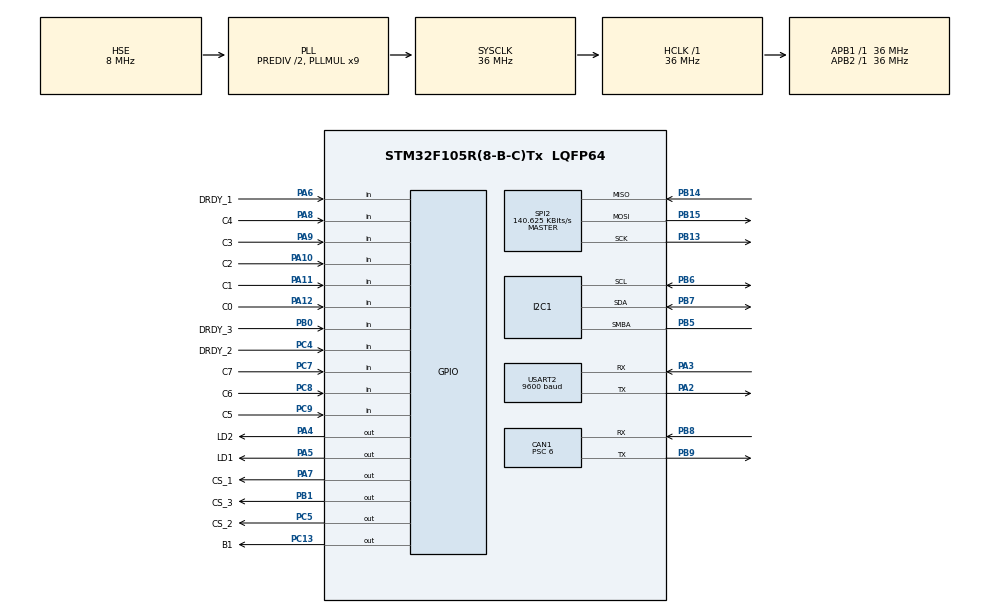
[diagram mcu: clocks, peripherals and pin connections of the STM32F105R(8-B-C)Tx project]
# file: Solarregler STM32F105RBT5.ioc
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CAN1.BS1=CAN_BS1_9TQ
CAN1.BS2=CAN_BS2_2TQ
CAN1.CalculateTimeBit=2000
CAN1.CalculateTimeQuantum=166.66666666666669
CAN1.Prescaler=6
Mcu.Family=STM32F1
Mcu.Name=STM32F105R(8-B-C)Tx
Mcu.Package=LQFP64
NVIC.CAN1_RX0_IRQn=true\:0\:0\:false\:false\:true\:true
NVIC.PriorityGroup=NVIC_PRIORITYGROUP_4
NVIC.SPI2_IRQn=true\:0\:0\:false\:false\:true\:true
NVIC.TIM2_IRQn=true\:0\:0\:false\:false\:true\:true
PA10.GPIO_Label=C2
PA10.GPIO_PuPd=GPIO_PULLUP
PA10.Signal=GPIO_Input
PA11.GPIO_Label=C1
PA11.GPIO_PuPd=GPIO_PULLUP
PA11.Signal=GPIO_Input
PA12.GPIO_Label=C0
PA12.GPIO_PuPd=GPIO_PULLUP
PA12.Signal=GPIO_Input
PA13.Mode=JTAG_5_pins
PA13.Signal=SYS_JTMS-SWDIO
PA14.Mode=JTAG_5_pins
PA14.Signal=SYS_JTCK-SWCLK
PA15.Mode=JTAG_5_pins
PA15.Signal=SYS_JTDI
PA2.Mode=Asynchronous
PA2.Signal=USART2_TX
PA3.Mode=Asynchronous
PA3.Signal=USART2_RX
PA4.GPIO_Label=LD2
PA4.Signal=GPIO_Output
PA5.GPIO_Label=LD1
PA5.Signal=GPIO_Output
PA6.GPIO_Label=DRDY_1
PA6.Signal=GPIO_Input
PA7.GPIO_Label=CS_1
PA7.Signal=GPIO_Output
PA8.GPIO_Label=C4
PA8.GPIO_PuPd=GPIO_PULLUP
PA8.Signal=GPIO_Input
PA9.GPIO_Label=C3
PA9.GPIO_PuPd=GPIO_PULLUP
PA9.Signal=GPIO_Input
PB0.GPIO_Label=DRDY_3
PB0.Signal=GPIO_Input
PB1.GPIO_Label=CS_3
PB1.Signal=GPIO_Output
PB13.Mode=Full_Duplex_Master
PB13.Signal=SPI2_SCK
PB14.Mode=Full_Duplex_Master
PB14.Signal=SPI2_MISO
PB15.Mode=Full_Duplex_Master
PB15.Signal=SPI2_MOSI
PB3.Mode=JTAG_5_pins
PB3.Signal=SYS_JTDO
PB4.Mode=JTAG_5_pins
PB4.Signal=SYS_NJTRST
PB5.Mode=SMBus-Alert-mode
PB5.Signal=I2C1_SMBA
PB6.Mode=SMBus-Alert-mode
PB6.Signal=I2C1_SCL
PB7.Mode=SMBus-Alert-mode
PB7.Signal=I2C1_SDA
PB8.Mode=Master
PB8.Signal=CAN1_RX
PB9.Mode=Master
PB9.Signal=CAN1_TX
PC13-TAMPER-RTC.GPIO_Label=B1
PC13-TAMPER-RTC.Signal=GPIO_Output
PC14-OSC32_IN.Mode=LSE-External-Oscillator
PC14-OSC32_IN.Signal=RCC_OSC32_IN
PC15-OSC32_OUT.Mode=LSE-External-Oscillator
PC15-OSC32_OUT.Signal=RCC_OSC32_OUT
PC4.GPIO_Label=DRDY_2
PC4.Signal=GPIO_Input
PC5.GPIO_Label=CS_2
PC5.Signal=GPIO_Output
PC7.GPIO_Label=C7
PC7.GPIO_PuPd=GPIO_PULLUP
PC7.Signal=GPIO_Input
PC8.GPIO_Label=C6
PC8.GPIO_PuPd=GPIO_PULLUP
PC8.Signal=GPIO_Input
PC9.GPIO_Label=C5
PC9.GPIO_PuPd=GPIO_PULLUP
PC9.Signal=GPIO_Input
PD0-OSC_IN.Mode=HSE-External-Clock-Source
PD0-OSC_IN.Signal=RCC_OSC_IN
PD1-OSC_OUT.Mode=HSE-External-Clock-Source
PD1-OSC_OUT.Signal=RCC_OSC_OUT
ProjectManager.HeapSize=0x200
ProjectManager.StackSize=0x400
ProjectManager.TargetToolchain=MDK-ARM V5
RCC.AHBFreq_Value=36000000
RCC.APB1Freq_Value=36000000
RCC.APB1TimFreq_Value=36000000
RCC.APB2Freq_Value=36000000
RCC.APB2TimFreq_Value=36000000
RCC.HCLKFreq_Value=36000000
RCC.HSEDivPLL=RCC_HSE_PREDIV_DIV2
RCC.PLLMUL=RCC_PLL_MUL9
RCC.PLLSourceVirtual=RCC_PLLSOURCE_HSE
RCC.SYSCLKFreq_VALUE=36000000
RCC.SYSCLKSource=RCC_SYSCLKSOURCE_PLLCLK
RCC.USBFreq_Value=24000000
SPI2.BaudRatePrescaler=SPI_BAUDRATEPRESCALER_256
SPI2.CLKPhase=SPI_PHASE_2EDGE
SPI2.CLKPolarity=SPI_POLARITY_HIGH
SPI2.CalculateBaudRate=140.625 KBits/s
SPI2.Direction=SPI_DIRECTION_2LINES
SPI2.Mode=SPI_MODE_MASTER
SPI2.VirtualType=VM_MASTER
TIM2.Period=65535
TIM2.Prescaler=4096
USART2.BaudRate=9600
USART2.VirtualMode=VM_ASYNC
VP_RTC_VS_RTC_Activate.Mode=RTC_Enabled
VP_TIM2_VS_ClockSourceINT.Mode=Internal
board=custom

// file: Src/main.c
/**
  ******************************************************************************
  * @file           : main.c
  * @brief          : Main program body
  ******************************************************************************
  ** This notice applies to any and all portions of this file
  * that are not between comment pairs USER CODE BEGIN and
  * USER CODE END. Other portions of this file, whether
  * inserted by the user or by software development tools
  * are owned by their respective copyright owners.
  *
  * COPYRIGHT(c) 2018 STMicroelectronics
  *
  * Redistribution and use in source and binary forms, with or without modification,
  * are permitted provided that the following conditions are met:
  *   1. Redistributions of source code must retain the above copyright notice,
  *      this list of conditions and the following disclaimer.
  *   2. Redistributions in binary form must reproduce the above copyright notice,
  *      this list of conditions and the following disclaimer in the documentation
  *      and/or other materials provided with the distribution.
  *   3. Neither the name of STMicroelectronics nor the names of its contributors
  *      may be used to endorse or promote products derived from this software
  *      without specific prior written permission.
  *
  * THIS SOFTWARE IS PROVIDED BY THE COPYRIGHT HOLDERS AND CONTRIBUTORS "AS IS"
  * AND ANY EXPRESS OR IMPLIED WARRANTIES, INCLUDING, BUT NOT LIMITED TO, THE
  * IMPLIED WARRANTIES OF MERCHANTABILITY AND FITNESS FOR A PARTICULAR PURPOSE ARE
  * DISCLAIMED. IN NO EVENT SHALL THE COPYRIGHT HOLDER OR CONTRIBUTORS BE LIABLE
  * FOR ANY DIRECT, INDIRECT, INCIDENTAL, SPECIAL, EXEMPLARY, OR CONSEQUENTIAL
  * DAMAGES (INCLUDING, BUT NOT LIMITED TO, PROCUREMENT OF SUBSTITUTE GOODS OR
  * SERVICES; LOSS OF USE, DATA, OR PROFITS; OR BUSINESS INTERRUPTION) HOWEVER
  * CAUSED AND ON ANY THEORY OF LIABILITY, WHETHER IN CONTRACT, STRICT LIABILITY,
  * OR TORT (INCLUDING NEGLIGENCE OR OTHERWISE) ARISING IN ANY WAY OUT OF THE USE
  * OF THIS SOFTWARE, EVEN IF ADVISED OF THE POSSIBILITY OF SUCH DAMAGE.
  *
  ******************************************************************************
  */
#include "main.h"
#include "stm32f1xx_hal.h"

/* USER CODE BEGIN Includes */

#include "MAX31865.h"
#include "stdio.h"
#include "string.h"

/* USER CODE END Includes */

CAN_HandleTypeDef hcan1;

RTC_HandleTypeDef hrtc;

SPI_HandleTypeDef hspi2;

TIM_HandleTypeDef htim2;

UART_HandleTypeDef huart2;

/* USER CODE BEGIN PV */
/* Private variables ---------------------------------------------------------*/

float temperaturSolar = 0.0;
float temperaturSens3 = 0.0;
float temperaturSolarMean = 0.0;
float temperaturBuffer = 0.0;
float temperaturBufferMean = 0.0;

float temperaturSolarMin = 50;
float temperaturBufferMax = 90;

float hysteresisON = 10.0;
float hysteresisOFF = 2.0;

MAX31865_TypeDef MAXSolar;
MAX31865_TypeDef MAXBuffer;
MAX31865_TypeDef MAXSens3;

uint8_t relaisState = 0;

uint8_t controllerActivated = 0;

uint8_t sens3Used = 0;

uint8_t sens3Solar = 0;

uint8_t sens3Buffer = 0;

int onTime = 0;

uint16_t CanBaseAdress = 0x123;

CanRxMsgTypeDef CanRx;
CanTxMsgTypeDef CanTx;
CAN_FilterConfTypeDef filterConfig;

/* USER CODE END PV */

void SystemClock_Config(void);
static void MX_GPIO_Init(void);
static void MX_USART2_UART_Init(void);
static void MX_RTC_Init(void);
static void MX_I2C1_Init(void);
static void MX_TIM2_Init(void);
static void MX_CAN1_Init(void);
static void MX_SPI2_Init(void);

/* USER CODE BEGIN PFP */
/* Private function prototypes -----------------------------------------------*/

uint8_t readCanIdDip(void);
void reenableCanInterrupt(CAN_HandleTypeDef* hcan);

/* USER CODE END PFP */

int main(void)
{

  /* MCU Configuration----------------------------------------------------------*/

  /* Reset of all peripherals, Initializes the Flash interface and the Systick. */
  HAL_Init();

  /* Configure the system clock */
  SystemClock_Config();

  /* Initialize all configured peripherals */
  MX_GPIO_Init();
  MX_USART2_UART_Init();
  MX_RTC_Init();
  MX_I2C1_Init();
  MX_TIM2_Init();
  MX_CAN1_Init();
  MX_SPI2_Init();
  /* USER CODE BEGIN 2 */

	// Initialization of the MAX PT100 Chips
	MAXSolar.SPI_Handle = &hspi2;
	MAXSolar.CS_Pin = CS_1_Pin;
	MAXSolar.CS_GPIOx = CS_1_GPIO_Port;
	MAXSolar.RDY_Pin = DRDY_1_Pin;
	MAXSolar.RDY_GPIOx = DRDY_1_GPIO_Port;
	MAXSolar.referenceResistor = 430.0;

	MAXSens3.SPI_Handle = &hspi2;
	MAXSens3.CS_Pin = CS_3_Pin;
	MAXSens3.CS_GPIOx = CS_3_GPIO_Port;
	MAXSens3.RDY_Pin = DRDY_3_Pin;
	MAXSens3.RDY_GPIOx = DRDY_3_GPIO_Port;
	MAXSens3.referenceResistor = 430.0;

	MAXBuffer.SPI_Handle = &hspi2;
	MAXBuffer.CS_Pin = CS_2_Pin;
	MAXBuffer.CS_GPIOx = CS_2_GPIO_Port;
	MAXBuffer.RDY_Pin = DRDY_2_Pin;
	MAXBuffer.RDY_GPIOx = DRDY_2_GPIO_Port;
	MAXBuffer.referenceResistor = 430.0;

	initialize(&MAXSolar, STANDARD_INIT);
	//initialize(&MAXSens3, STANDARD_INIT);
	initialize(&MAXBuffer, STANDARD_INIT);

	checkForFaults(&MAXSolar);
	//checkForFaults(&MAXSens3);
	checkForFaults(&MAXBuffer);

	/////////////////////////////////////////////////

	//CanBaseAdress = readCanIdDip();

	// Initialization of CAN Messages and Filter
	hcan1.pTxMsg = &CanTx;
	hcan1.pTxMsg->StdId = CanBaseAdress + 0x1;
	hcan1.pTxMsg->ExtId = 0x0;
	hcan1.pTxMsg->RTR = CAN_RTR_DATA;
	hcan1.pTxMsg->IDE = CAN_ID_STD;
	hcan1.pTxMsg->DLC = 5; //Datenmenge max 8

	hcan1.pRxMsg = &CanRx;
	hcan1.pRxMsg->IDE = CAN_ID_STD;
	hcan1.pRxMsg->FIFONumber = CAN_FIFO0;
	hcan1.pRxMsg->FMI = 1;

	filterConfig.FilterNumber = 1;
	filterConfig.FilterMode = CAN_FILTERMODE_IDMASK;
	filterConfig.FilterIdLow = (CanBaseAdress | 0x00F) << 5; // wegen Fehler? offset der ID um 5 Bits
	filterConfig.FilterIdHigh = (CanBaseAdress + 0x7) << 5;
	filterConfig.FilterMaskIdLow = (CanBaseAdress + 0xB) << 5;
	filterConfig.FilterMaskIdHigh = 0x0;
	filterConfig.FilterScale = CAN_FILTERSCALE_16BIT;
	filterConfig.FilterFIFOAssignment = CAN_FILTER_FIFO0;
	filterConfig.FilterActivation = ENABLE;
	filterConfig.BankNumber = 14;
	/////////////////////////////////////////////////

	// Setup Filter
	HAL_CAN_ConfigFilter(&hcan1, &filterConfig);

	//Start Interrupt
	HAL_CAN_Receive_IT(&hcan1, CAN_FIFO0);

	// Timer start
	HAL_TIM_Base_Start_IT(&htim2);

  /* USER CODE END 2 */

  /* Infinite loop */
  while (1)
  {

  }

}

void SystemClock_Config(void)
{

  RCC_OscInitTypeDef RCC_OscInitStruct;
  RCC_ClkInitTypeDef RCC_ClkInitStruct;
  RCC_PeriphCLKInitTypeDef PeriphClkInit;

    /**Initializes the CPU, AHB and APB busses clocks
    */
  RCC_OscInitStruct.OscillatorType = RCC_OSCILLATORTYPE_LSI|RCC_OSCILLATORTYPE_HSE;
  RCC_OscInitStruct.HSEState = RCC_HSE_BYPASS;
  RCC_OscInitStruct.HSEPredivValue = RCC_HSE_PREDIV_DIV2;
  RCC_OscInitStruct.HSIState = RCC_HSI_ON;
  RCC_OscInitStruct.LSIState = RCC_LSI_ON;
  RCC_OscInitStruct.Prediv1Source = RCC_PREDIV1_SOURCE_HSE;
  RCC_OscInitStruct.PLL.PLLState = RCC_PLL_ON;
  RCC_OscInitStruct.PLL.PLLSource = RCC_PLLSOURCE_HSE;
  RCC_OscInitStruct.PLL.PLLMUL = RCC_PLL_MUL9;
  RCC_OscInitStruct.PLL2.PLL2State = RCC_PLL_NONE;
  if (HAL_RCC_OscConfig(&RCC_OscInitStruct) != HAL_OK)
  {
    _Error_Handler(__FILE__, __LINE__);
  }

    /**Initializes the CPU, AHB and APB busses clocks
    */
  RCC_ClkInitStruct.ClockType = RCC_CLOCKTYPE_HCLK|RCC_CLOCKTYPE_SYSCLK
                              |RCC_CLOCKTYPE_PCLK1|RCC_CLOCKTYPE_PCLK2;
  RCC_ClkInitStruct.SYSCLKSource = RCC_SYSCLKSOURCE_PLLCLK;
  RCC_ClkInitStruct.AHBCLKDivider = RCC_SYSCLK_DIV1;
  RCC_ClkInitStruct.APB1CLKDivider = RCC_HCLK_DIV1;
  RCC_ClkInitStruct.APB2CLKDivider = RCC_HCLK_DIV1;

  if (HAL_RCC_ClockConfig(&RCC_ClkInitStruct, FLASH_LATENCY_1) != HAL_OK)
  {
    _Error_Handler(__FILE__, __LINE__);
  }

  PeriphClkInit.PeriphClockSelection = RCC_PERIPHCLK_RTC;
  PeriphClkInit.RTCClockSelection = RCC_RTCCLKSOURCE_LSI;
  if (HAL_RCCEx_PeriphCLKConfig(&PeriphClkInit) != HAL_OK)
  {
    _Error_Handler(__FILE__, __LINE__);
  }

    /**Configure the Systick interrupt time
    */
  HAL_SYSTICK_Config(HAL_RCC_GetHCLKFreq()/1000);

    /**Configure the Systick
    */
  HAL_SYSTICK_CLKSourceConfig(SYSTICK_CLKSOURCE_HCLK);

    /**Configure the Systick interrupt time
    */
  __HAL_RCC_PLLI2S_ENABLE();

  /* SysTick_IRQn interrupt configuration */
  HAL_NVIC_SetPriority(SysTick_IRQn, 0, 0);
}

/* CAN1 init function */
static void MX_CAN1_Init(void)
{

  hcan1.Instance = CAN1;
  hcan1.Init.Prescaler = 6;
  hcan1.Init.Mode = CAN_MODE_NORMAL;
  hcan1.Init.SJW = CAN_SJW_1TQ;
  hcan1.Init.BS1 = CAN_BS1_9TQ;
  hcan1.Init.BS2 = CAN_BS2_2TQ;
  hcan1.Init.TTCM = DISABLE;
  hcan1.Init.ABOM = DISABLE;
  hcan1.Init.AWUM = DISABLE;
  hcan1.Init.NART = DISABLE;
  hcan1.Init.RFLM = DISABLE;
  hcan1.Init.TXFP = DISABLE;
  if (HAL_CAN_Init(&hcan1) != HAL_OK)
  {
    _Error_Handler(__FILE__, __LINE__);
  }

}

/* I2C1 init function */
static void MX_I2C1_Init(void)
{

}

/* RTC init function */
static void MX_RTC_Init(void)
{

    /**Initialize RTC Only
    */
  hrtc.Instance = RTC;
  hrtc.Init.AsynchPrediv = RTC_AUTO_1_SECOND;
  hrtc.Init.OutPut = RTC_OUTPUTSOURCE_ALARM;
  if (HAL_RTC_Init(&hrtc) != HAL_OK)
  {
    _Error_Handler(__FILE__, __LINE__);
  }

}

/* SPI2 init function */
static void MX_SPI2_Init(void)
{

  /* SPI2 parameter configuration*/
  hspi2.Instance = SPI2;
  hspi2.Init.Mode = SPI_MODE_MASTER;
  hspi2.Init.Direction = SPI_DIRECTION_2LINES;
  hspi2.Init.DataSize = SPI_DATASIZE_8BIT;
  hspi2.Init.CLKPolarity = SPI_POLARITY_HIGH;
  hspi2.Init.CLKPhase = SPI_PHASE_2EDGE;
  hspi2.Init.NSS = SPI_NSS_SOFT;
  hspi2.Init.BaudRatePrescaler = SPI_BAUDRATEPRESCALER_256;
  hspi2.Init.FirstBit = SPI_FIRSTBIT_MSB;
  hspi2.Init.TIMode = SPI_TIMODE_DISABLE;
  hspi2.Init.CRCCalculation = SPI_CRCCALCULATION_DISABLE;
  hspi2.Init.CRCPolynomial = 10;
  if (HAL_SPI_Init(&hspi2) != HAL_OK)
  {
    _Error_Handler(__FILE__, __LINE__);
  }

}

/* TIM2 init function */
static void MX_TIM2_Init(void)
{

  TIM_ClockConfigTypeDef sClockSourceConfig;
  TIM_MasterConfigTypeDef sMasterConfig;

  htim2.Instance = TIM2;
  htim2.Init.Prescaler = 4096;
  htim2.Init.CounterMode = TIM_COUNTERMODE_UP;
  htim2.Init.Period = 65535;
  htim2.Init.ClockDivision = TIM_CLOCKDIVISION_DIV1;
  htim2.Init.AutoReloadPreload = TIM_AUTORELOAD_PRELOAD_DISABLE;
  if (HAL_TIM_Base_Init(&htim2) != HAL_OK)
  {
    _Error_Handler(__FILE__, __LINE__);
  }

  sClockSourceConfig.ClockSource = TIM_CLOCKSOURCE_INTERNAL;
  if (HAL_TIM_ConfigClockSource(&htim2, &sClockSourceConfig) != HAL_OK)
  {
    _Error_Handler(__FILE__, __LINE__);
  }

  sMasterConfig.MasterOutputTrigger = TIM_TRGO_RESET;
  sMasterConfig.MasterSlaveMode = TIM_MASTERSLAVEMODE_DISABLE;
  if (HAL_TIMEx_MasterConfigSynchronization(&htim2, &sMasterConfig) != HAL_OK)
  {
    _Error_Handler(__FILE__, __LINE__);
  }

}

/* USART2 init function */
static void MX_USART2_UART_Init(void)
{

  huart2.Instance = USART2;
  huart2.Init.BaudRate = 9600;
  huart2.Init.WordLength = UART_WORDLENGTH_8B;
  huart2.Init.StopBits = UART_STOPBITS_1;
  huart2.Init.Parity = UART_PARITY_NONE;
  huart2.Init.Mode = UART_MODE_TX_RX;
  huart2.Init.HwFlowCtl = UART_HWCONTROL_NONE;
  huart2.Init.OverSampling = UART_OVERSAMPLING_16;
  if (HAL_UART_Init(&huart2) != HAL_OK)
  {
    _Error_Handler(__FILE__, __LINE__);
  }

}

/** Configure pins as
        * Analog
        * Input
        * Output
        * EVENT_OUT
        * EXTI
     PB5   ------> I2C1_SMBA
     PB6   ------> I2C1_SCL
     PB7   ------> I2C1_SDA
*/
static void MX_GPIO_Init(void)
{

  GPIO_InitTypeDef GPIO_InitStruct;

  /* GPIO Ports Clock Enable */
  __HAL_RCC_GPIOC_CLK_ENABLE();
  __HAL_RCC_GPIOD_CLK_ENABLE();
  __HAL_RCC_GPIOA_CLK_ENABLE();
  __HAL_RCC_GPIOB_CLK_ENABLE();

  /*Configure GPIO pin Output Level */
  HAL_GPIO_WritePin(GPIOC, B1_Pin|CS_2_Pin, GPIO_PIN_RESET);

  /*Configure GPIO pin Output Level */
  HAL_GPIO_WritePin(GPIOA, LD2_Pin|LD1_Pin|CS_1_Pin, GPIO_PIN_RESET);

  /*Configure GPIO pin Output Level */
  HAL_GPIO_WritePin(CS_3_GPIO_Port, CS_3_Pin, GPIO_PIN_RESET);

  /*Configure GPIO pins : B1_Pin CS_2_Pin */
  GPIO_InitStruct.Pin = B1_Pin|CS_2_Pin;
  GPIO_InitStruct.Mode = GPIO_MODE_OUTPUT_PP;
  GPIO_InitStruct.Pull = GPIO_NOPULL;
  GPIO_InitStruct.Speed = GPIO_SPEED_FREQ_LOW;
  HAL_GPIO_Init(GPIOC, &GPIO_InitStruct);

  /*Configure GPIO pins : LD2_Pin LD1_Pin CS_1_Pin */
  GPIO_InitStruct.Pin = LD2_Pin|LD1_Pin|CS_1_Pin;
  GPIO_InitStruct.Mode = GPIO_MODE_OUTPUT_PP;
  GPIO_InitStruct.Pull = GPIO_NOPULL;
  GPIO_InitStruct.Speed = GPIO_SPEED_FREQ_LOW;
  HAL_GPIO_Init(GPIOA, &GPIO_InitStruct);

  /*Configure GPIO pin : DRDY_1_Pin */
  GPIO_InitStruct.Pin = DRDY_1_Pin;
  GPIO_InitStruct.Mode = GPIO_MODE_INPUT;
  GPIO_InitStruct.Pull = GPIO_NOPULL;
  HAL_GPIO_Init(DRDY_1_GPIO_Port, &GPIO_InitStruct);

  /*Configure GPIO pin : DRDY_2_Pin */
  GPIO_InitStruct.Pin = DRDY_2_Pin;
  GPIO_InitStruct.Mode = GPIO_MODE_INPUT;
  GPIO_InitStruct.Pull = GPIO_NOPULL;
  HAL_GPIO_Init(DRDY_2_GPIO_Port, &GPIO_InitStruct);

  /*Configure GPIO pin : DRDY_3_Pin */
  GPIO_InitStruct.Pin = DRDY_3_Pin;
  GPIO_InitStruct.Mode = GPIO_MODE_INPUT;
  GPIO_InitStruct.Pull = GPIO_NOPULL;
  HAL_GPIO_Init(DRDY_3_GPIO_Port, &GPIO_InitStruct);

  /*Configure GPIO pin : CS_3_Pin */
  GPIO_InitStruct.Pin = CS_3_Pin;
  GPIO_InitStruct.Mode = GPIO_MODE_OUTPUT_PP;
  GPIO_InitStruct.Pull = GPIO_NOPULL;
  GPIO_InitStruct.Speed = GPIO_SPEED_FREQ_LOW;
  HAL_GPIO_Init(CS_3_GPIO_Port, &GPIO_InitStruct);

  /*Configure GPIO pins : C7_Pin C6_Pin C5_Pin */
  GPIO_InitStruct.Pin = C7_Pin|C6_Pin|C5_Pin;
  GPIO_InitStruct.Mode = GPIO_MODE_INPUT;
  GPIO_InitStruct.Pull = GPIO_PULLUP;
  HAL_GPIO_Init(GPIOC, &GPIO_InitStruct);

  /*Configure GPIO pins : C4_Pin C3_Pin C2_Pin C1_Pin
                           C0_Pin */
  GPIO_InitStruct.Pin = C4_Pin|C3_Pin|C2_Pin|C1_Pin
                          |C0_Pin;
  GPIO_InitStruct.Mode = GPIO_MODE_INPUT;
  GPIO_InitStruct.Pull = GPIO_PULLUP;
  HAL_GPIO_Init(GPIOA, &GPIO_InitStruct);

  /*Configure GPIO pins : PB5 PB6 PB7 */
  GPIO_InitStruct.Pin = GPIO_PIN_5|GPIO_PIN_6|GPIO_PIN_7;
  GPIO_InitStruct.Mode = GPIO_MODE_AF_OD;
  GPIO_InitStruct.Speed = GPIO_SPEED_FREQ_HIGH;
  HAL_GPIO_Init(GPIOB, &GPIO_InitStruct);

}

/* USER CODE BEGIN 4 */

uint8_t readCanIdDip(){

	uint8_t canIdDip;

	// read in the individual DIP ID Pins
	canIdDip = (HAL_GPIO_ReadPin(C0_GPIO_Port, C0_Pin) << 0) | (HAL_GPIO_ReadPin(C1_GPIO_Port, C1_Pin) << 1) | (HAL_GPIO_ReadPin(C2_GPIO_Port, C2_Pin) << 2) | (HAL_GPIO_ReadPin(C3_GPIO_Port, C3_Pin) << 3);
	canIdDip |= (HAL_GPIO_ReadPin(C4_GPIO_Port, C4_Pin) << 4) | (HAL_GPIO_ReadPin(C5_GPIO_Port, C5_Pin) << 5) | (HAL_GPIO_ReadPin(C6_GPIO_Port, C6_Pin) << 6) | (HAL_GPIO_ReadPin(C7_GPIO_Port, C7_Pin) << 7);

	return canIdDip;
}

void HAL_CAN_RxCpltCallback(CAN_HandleTypeDef* hcan){

if(hcan->pRxMsg->StdId == (CanBaseAdress + 0xB)){

		if(sens3Used == 0){

		hcan->pTxMsg->StdId = (CanBaseAdress);
		hcan->pTxMsg->DLC = 5;
		hcan->pTxMsg->Data[0] = MAXSolar.faultDetected;
	  hcan->pTxMsg->Data[1] = *((uint8_t *) &temperaturSolar);
		hcan->pTxMsg->Data[2] = *(((uint8_t *) &temperaturSolar) + 1);
		hcan->pTxMsg->Data[3] = *(((uint8_t *) &temperaturSolar) + 2);
		hcan->pTxMsg->Data[4] = *(((uint8_t *) &temperaturSolar) + 3);
		HAL_CAN_Transmit(hcan, 10);

		} else {

		if(sens3Solar && !sens3Buffer){

		hcan->pTxMsg->StdId = (CanBaseAdress);
		hcan->pTxMsg->DLC = 5;
		hcan->pTxMsg->Data[0] = MAXSolar.faultDetected | MAXSens3.faultDetected;
	  hcan->pTxMsg->Data[1] = *((uint8_t *) &temperaturSolarMean);
		hcan->pTxMsg->Data[2] = *(((uint8_t *) &temperaturSolarMean) + 1);
		hcan->pTxMsg->Data[3] = *(((uint8_t *) &temperaturSolarMean) + 2);
		hcan->pTxMsg->Data[4] = *(((uint8_t *) &temperaturSolarMean) + 3);
		HAL_CAN_Transmit(hcan, 10);

			}	else {

		if(sens3Buffer && !sens3Solar){

		hcan->pTxMsg->StdId = (CanBaseAdress);
		hcan->pTxMsg->DLC = 5;
		hcan->pTxMsg->Data[0] = MAXBuffer.faultDetected | MAXSens3.faultDetected;
	  hcan->pTxMsg->Data[1] = *((uint8_t *) &temperaturBufferMean);
		hcan->pTxMsg->Data[2] = *(((uint8_t *) &temperaturBufferMean) + 1);
		hcan->pTxMsg->Data[3] = *(((uint8_t *) &temperaturBufferMean) + 2);
		hcan->pTxMsg->Data[4] = *(((uint8_t *) &temperaturBufferMean) + 3);
		HAL_CAN_Transmit(hcan, 10);

				}
			}
		}

		hcan->pTxMsg->StdId = (CanBaseAdress + 0x1);
		hcan->pTxMsg->DLC = 5;
		hcan->pTxMsg->Data[0] = MAXBuffer.faultDetected ;
	  hcan->pTxMsg->Data[1] = *((uint8_t *) &temperaturBuffer);
		hcan->pTxMsg->Data[2] = *(((uint8_t *) &temperaturBuffer) + 1);
		hcan->pTxMsg->Data[3] = *(((uint8_t *) &temperaturBuffer) + 2);
		hcan->pTxMsg->Data[4] = *(((uint8_t *) &temperaturBuffer) + 3);
		HAL_CAN_Transmit(hcan, 10);

		hcan->pTxMsg->StdId = (CanBaseAdress + 0x2);
		hcan->pTxMsg->DLC = 8;
	  hcan->pTxMsg->Data[0] = *((uint8_t *) &hysteresisON);
		hcan->pTxMsg->Data[1] = *(((uint8_t *) &hysteresisON) + 1);
		hcan->pTxMsg->Data[2] = *(((uint8_t *) &hysteresisON) + 2);
		hcan->pTxMsg->Data[3] = *(((uint8_t *) &hysteresisON) + 3);
		hcan->pTxMsg->Data[4] = *((uint8_t *) &hysteresisOFF);
		hcan->pTxMsg->Data[5] = *(((uint8_t *) &hysteresisOFF) + 1);
		hcan->pTxMsg->Data[6] = *(((uint8_t *) &hysteresisOFF) + 2);
		hcan->pTxMsg->Data[7] = *(((uint8_t *) &hysteresisOFF) + 3);
		HAL_CAN_Transmit(hcan, 10);

		hcan->pTxMsg->StdId = (CanBaseAdress + 0x4);
		hcan->pTxMsg->DLC = 1;
	  hcan->pTxMsg->Data[0] = relaisState;
		HAL_CAN_Transmit(hcan, 10);

		hcan->pTxMsg->StdId = (CanBaseAdress + 0x5);
		hcan->pTxMsg->DLC = 8;
	  hcan->pTxMsg->Data[0] = *((uint8_t *) &temperaturBufferMax);
		hcan->pTxMsg->Data[1] = *(((uint8_t *) &temperaturBufferMax) + 1);
		hcan->pTxMsg->Data[2] = *(((uint8_t *) &temperaturBufferMax) + 2);
		hcan->pTxMsg->Data[3] = *(((uint8_t *) &temperaturBufferMax) + 3);
		hcan->pTxMsg->Data[4] = *((uint8_t *) &temperaturSolarMin);
		hcan->pTxMsg->Data[5] = *(((uint8_t *) &temperaturSolarMin) + 1);
		hcan->pTxMsg->Data[6] = *(((uint8_t *) &temperaturSolarMin) + 2);
		hcan->pTxMsg->Data[7] = *(((uint8_t *) &temperaturSolarMin) + 3);
		HAL_CAN_Transmit(hcan, 10);

		hcan->pTxMsg->StdId = (CanBaseAdress + 0x6);
		hcan->pTxMsg->DLC = 1;
	  hcan->pTxMsg->Data[0] = *((uint8_t *) &controllerActivated);
		HAL_CAN_Transmit(hcan, 10);

}

if(hcan->pRxMsg->StdId == (CanBaseAdress + 0x3)){
	float tmpON;
	float tmpOFF;
	uint8_t * ON = (uint8_t *) &tmpON;
	uint8_t * OFF = (uint8_t *) &tmpOFF;

	*ON = hcan->pRxMsg->Data[0];
	*(ON + 1) = hcan->pRxMsg->Data[1];
	*(ON + 2) = hcan->pRxMsg->Data[2];
	*(ON + 3) = hcan->pRxMsg->Data[3];

	*OFF = hcan->pRxMsg->Data[4];
	*(OFF + 1) = hcan->pRxMsg->Data[5];
	*(OFF + 2) = hcan->pRxMsg->Data[6];
	*(OFF + 3) = hcan->pRxMsg->Data[7];

	if(tmpON <= MAX_ADJUSTABLE_TEMPERATURE && tmpON >= MIN_ADJUSTABLE_TEMPERATURE){
		hysteresisON = tmpON;
	} else {
		if(tmpON > MAX_ADJUSTABLE_TEMPERATURE){
			hysteresisON = MAX_ADJUSTABLE_TEMPERATURE;
		}
		if(tmpON < MIN_ADJUSTABLE_TEMPERATURE){
			hysteresisON = MIN_ADJUSTABLE_TEMPERATURE;
		}
	}

	if(tmpOFF <= MAX_ADJUSTABLE_TEMPERATURE && tmpOFF >= MIN_ADJUSTABLE_TEMPERATURE){
		hysteresisOFF = tmpOFF;
	} else {
		if(tmpOFF > MAX_ADJUSTABLE_TEMPERATURE){
			hysteresisOFF = MAX_ADJUSTABLE_TEMPERATURE;
		}
		if(tmpOFF < MIN_ADJUSTABLE_TEMPERATURE){
			hysteresisOFF = MIN_ADJUSTABLE_TEMPERATURE;
		}
	}

		hcan->pTxMsg->StdId = (CanBaseAdress + 0x2);
		hcan->pTxMsg->DLC = 8;
	  hcan->pTxMsg->Data[0] = *((uint8_t *) &hysteresisON);
		hcan->pTxMsg->Data[1] = *(((uint8_t *) &hysteresisON) + 1);
		hcan->pTxMsg->Data[2] = *(((uint8_t *) &hysteresisON) + 2);
		hcan->pTxMsg->Data[3] = *(((uint8_t *) &hysteresisON) + 3);
		hcan->pTxMsg->Data[4] = *((uint8_t *) &hysteresisOFF);
		hcan->pTxMsg->Data[5] = *(((uint8_t *) &hysteresisOFF) + 1);
		hcan->pTxMsg->Data[6] = *(((uint8_t *) &hysteresisOFF) + 2);
		hcan->pTxMsg->Data[7] = *(((uint8_t *) &hysteresisOFF) + 3);
		HAL_CAN_Transmit(hcan, 10);

}

if(hcan->pRxMsg->StdId == (CanBaseAdress + 0x7)){
	float tmpMAX;
	float tmpMIN;
	uint8_t * MAX = (uint8_t *) &tmpMAX;
	uint8_t * MIN = (uint8_t *) &tmpMIN;

	*MAX = hcan->pRxMsg->Data[0];
	*(MAX + 1) = hcan->pRxMsg->Data[1];
	*(MAX + 2) = hcan->pRxMsg->Data[2];
	*(MAX + 3) = hcan->pRxMsg->Data[3];

	*MIN = hcan->pRxMsg->Data[4];
	*(MIN + 1) = hcan->pRxMsg->Data[5];
	*(MIN + 2) = hcan->pRxMsg->Data[6];
	*(MIN + 3) = hcan->pRxMsg->Data[7];

		if(tmpMAX <= MAX_ADJUSTABLE_TEMPERATURE && tmpMAX >= MIN_ADJUSTABLE_TEMPERATURE){
		temperaturBufferMax = tmpMAX;
		} else {
		if(tmpMAX > MAX_ADJUSTABLE_TEMPERATURE){
			temperaturBufferMax = MAX_ADJUSTABLE_TEMPERATURE;
		}
		if(tmpMAX < MIN_ADJUSTABLE_TEMPERATURE){
			temperaturBufferMax = MIN_ADJUSTABLE_TEMPERATURE;
		}
	}

		if(tmpMIN <= MAX_ADJUSTABLE_TEMPERATURE && tmpMIN >= MIN_ADJUSTABLE_TEMPERATURE){
		temperaturSolarMin = tmpMIN;
		} else {
		if(tmpMIN > MAX_ADJUSTABLE_TEMPERATURE){
			temperaturSolarMin = MAX_ADJUSTABLE_TEMPERATURE;
		}
		if(tmpMIN < MIN_ADJUSTABLE_TEMPERATURE){
			temperaturSolarMin = MIN_ADJUSTABLE_TEMPERATURE;
		}
	}

		hcan->pTxMsg->StdId = (CanBaseAdress + 0x5);
		hcan->pTxMsg->DLC = 8;
	  hcan->pTxMsg->Data[0] = *((uint8_t *) &temperaturBufferMax);
		hcan->pTxMsg->Data[1] = *(((uint8_t *) &temperaturBufferMax) + 1);
		hcan->pTxMsg->Data[2] = *(((uint8_t *) &temperaturBufferMax) + 2);
		hcan->pTxMsg->Data[3] = *(((uint8_t *) &temperaturBufferMax) + 3);
		hcan->pTxMsg->Data[4] = *((uint8_t *) &temperaturSolarMin);
		hcan->pTxMsg->Data[5] = *(((uint8_t *) &temperaturSolarMin) + 1);
		hcan->pTxMsg->Data[6] = *(((uint8_t *) &temperaturSolarMin) + 2);
		hcan->pTxMsg->Data[7] = *(((uint8_t *) &temperaturSolarMin) + 3);
		HAL_CAN_Transmit(hcan, 10);

}

if(hcan->pRxMsg->StdId == (CanBaseAdress + 0x8)){

	controllerActivated = hcan->pRxMsg->Data[0];

		hcan->pTxMsg->StdId = (CanBaseAdress + 0x6);
		hcan->pTxMsg->DLC = 1;
	  hcan->pTxMsg->Data[0] = *((uint8_t *) &controllerActivated);
		HAL_CAN_Transmit(hcan, 10);

}

	reenableCanInterrupt(hcan);

}

void reenableCanInterrupt(CAN_HandleTypeDef* hcan){

		if(hcan->State == HAL_CAN_STATE_BUSY_TX){
			hcan->State = HAL_CAN_STATE_BUSY_TX_RX0;
		} else {
			hcan->State = HAL_CAN_STATE_BUSY_RX0;
			hcan->ErrorCode = HAL_CAN_ERROR_NONE;

			__HAL_CAN_ENABLE_IT(hcan, CAN_IT_EWG);
			__HAL_CAN_ENABLE_IT(hcan, CAN_IT_EPV);
			__HAL_CAN_ENABLE_IT(hcan, CAN_IT_BOF);
			__HAL_CAN_ENABLE_IT(hcan, CAN_IT_LEC);
			__HAL_CAN_ENABLE_IT(hcan, CAN_IT_ERR);
			__HAL_CAN_ENABLE_IT(hcan, CAN_IT_EWG);

	}

	__HAL_CAN_ENABLE_IT(hcan, CAN_IT_FMP0);

}

/* USER CODE END 4 */

void _Error_Handler(char *file, int line)
{
  while(1)
  {
  }
}

/************************ (C) COPYRIGHT STMicroelectronics *****END OF FILE****/
